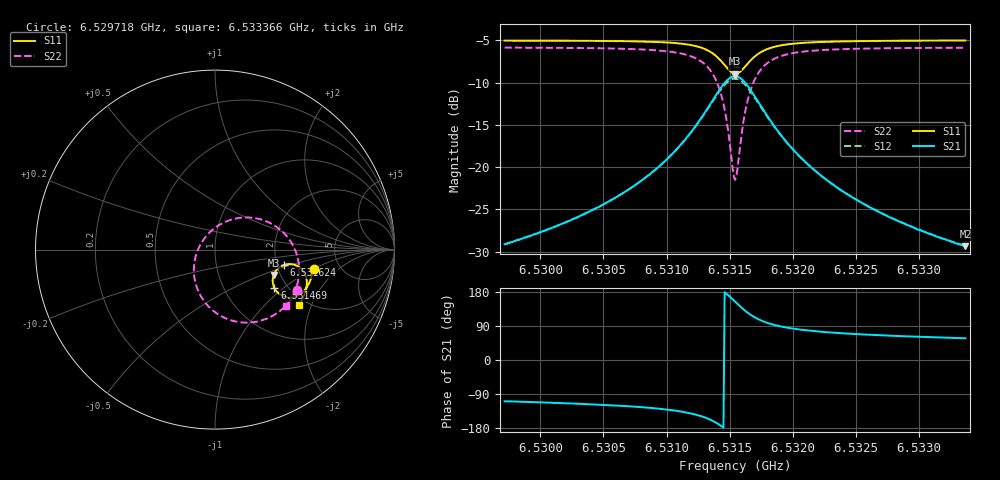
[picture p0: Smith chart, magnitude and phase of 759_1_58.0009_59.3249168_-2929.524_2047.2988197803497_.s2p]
#  HZ  S  RI  R  50.00
! Rohde & Schwarz Vector Network Analyzer
! Rohde-Schwarz,ZNB20-2Port,1311601062101988,3.16
! Created: UTC 3/21/2024, 1:24:19 AM
! freq[Hz]  re:S11  im:S11  re:S21  im:S21  re:S12  im:S12  re:S22  im:S22
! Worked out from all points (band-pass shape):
!   401 points, 6.529718 GHz to 6.533366 GHz, reference 50 ohm
!   highest |S21| = -9.24 dB at 6.531542 GHz (marker M1); lowest = -29.4 dB at 6.533366 GHz (marker M2)
!   |S21| within 3 dB of the highest: 6.531359 GHz to 6.531724 GHz (365.1 kHz wide, 0.00559 % of centre)
!   lowest |S11| = -9.0 dB at 6.531542 GHz (marker M3), VSWR 2.11, Z = 92.5 - j29.8 ohm
!   |S11| at or under -10 dB: nowhere
!   |S22| runs from -21.5 to -5.9 dB; largest |S21 - S12| = 0.015
!   S11 on the Smith chart (normalised r, x): 6.529718 GHz: 3.20, -1.00; 6.531469 GHz: 1.71, -0.87; 6.531624 GHz: 2.20, -0.44; 6.533366 GHz: 1.81, -1.64
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6.5297176e9  0.5497 -0.1074  -0.0114 -0.033  -0.012 -0.0329  0.4558 -0.2269
6.5303288e9  0.5355 -0.1594  -0.0227 -0.0467  -0.0239 -0.0463  0.4183 -0.2849
6.5306754e9  0.5213 -0.1927  -0.0376 -0.0613  -0.0394 -0.0602  0.3794 -0.327
6.5309399e9  0.5021 -0.2229  -0.0626 -0.0788  -0.0651 -0.0769  0.3232 -0.3679
6.5311497e9  0.4709 -0.2509  -0.1089 -0.0978  -0.1119 -0.0936  0.2312 -0.4017
6.5313139e9  0.4171 -0.267  -0.1924 -0.0986  -0.1943 -0.0897  0.0798 -0.3908
6.5314051e9  0.3663 -0.2527  -0.2705 -0.0575  -0.2675 -0.0455  -0.0463 -0.3054
6.5314416e9  0.3446 -0.2344  -0.302 -0.0194  -0.2954 -0.00755  -0.0913 -0.2354
6.531469e9  0.3309 -0.214  -0.32 0.0196  -0.3104 0.0305  -0.1128 -0.1668
6.5315237e9  0.3225 -0.1597  -0.3227 0.117  -0.3091 0.1221  -0.0976 -0.00696
6.531542e9  0.3275 -0.1406  -0.3108 0.1497  -0.2968 0.1524  -0.0716 0.044
6.5315602e9  0.3362 -0.1231  -0.2925 0.1796  -0.279 0.1799  -0.0364 0.089
6.5315967e9  0.3627 -0.0962  -0.2424 0.2245  -0.2317 0.2211  0.0533 0.1526
6.5316241e9  0.3862 -0.0848  -0.2003 0.2426  -0.1917 0.238  0.1259 0.1752
6.5316605e9  0.4166 -0.0803  -0.1468 0.2492  -0.1412 0.2444  0.2155 0.1764
6.531697e9  0.4425 -0.0848  -0.1023 0.2422  -0.0986 0.2379  0.2889 0.1563
6.5318065e9  0.4886 -0.116  -0.0241 0.1944  -0.0225 0.1924  0.413 0.0575
6.5319342e9  0.507 -0.152  0.0088 0.1452  0.0101 0.1444  0.459 -0.0398
6.5321531e9  0.5114 -0.1948  0.0227 0.096  0.0238 0.0955  0.4678 -0.14
6.5323903e9  0.5059 -0.2263  0.0241 0.0682  0.0253 0.0678  0.4563 -0.2013
6.5327643e9  0.4926 -0.2633  0.0219 0.0455  0.023 0.0453  0.4334 -0.2591
6.5333663e9  0.4681 -0.31  0.0184 0.0287  0.0191 0.0284  0.3979 -0.3163
